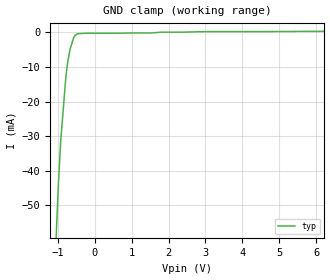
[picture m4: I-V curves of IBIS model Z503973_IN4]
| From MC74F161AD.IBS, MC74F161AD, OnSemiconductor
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| (C) COPYRIGHT 1993-2000
| MENTOR GRAPHICS CORPORATION
| ICX STANDARD LIBRARY, ICX PROJECT MODELING,
| ICX CUSTOM MODELING, ICX VENDOR MODEL
| ALL RIGHTS RESERVED.
| THE FOLLOWING ARE TRADEMARKS OR SERVICE MARKS OF
| MENTOR GRAPHICS CORPORATION:ICX (R), ICX STANDARD
| LIBRARY(R), ICX PROJECT MODELING(R), ICX CUSTOM
| MODELING(R), qualityIBIS(TM), MODELVIEWER(TM),
| AND MODELEDITOR(TM)
| ALL COPIES OF SOFTWARE, INCLUDING BUT NOT LIMITED TO
| ANY MODIFICATIONS, ENHANCEMENTS OR DERIVATIVE WORKS,
| MUST CONTAIN ALL MENTOR GRAPHICS CORPORATION'S
| NOTICES AND LEGENDS, INCLUDING THOSE EMBEDDED IN
| SOFTWARE AND THOSE AFFIXED TO SOFTWARE MEDIUM
| AND CONTAINER, AS RECEIVED FROM MENTOR GRAPHICS
| CORPORATION.
| Model Application Version 1.89 2/18/99.
[Model] Z503973_IN4
Model_type Input
Vinl = 800.0mV
Vinh = 2.000V
C_comp 4.000pF NA NA
| variable typ   min   max
[Voltage Range] 5.000V NA NA
[GND Clamp Reference] 0.000V NA NA
[POWER Clamp Reference] 5.000V NA NA
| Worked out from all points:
|   GND clamp passes 1 mA (typ) near -0.54 V on its own axis
[GND Clamp]
-5V       -1.722A    NA         NA
-1.075V   -67.75mA   NA         NA
-981mV    -44.04mA   NA         NA
-916.9mV  -31.23mA   NA         NA
-776.1mV  -12.55mA   NA         NA
-722.7mV  -8.122mA   NA         NA
-663.5mV  -4.799mA   NA         NA
-569.1mV  -1.527mA   NA         NA
-531.6mV  -921uA     NA         NA
-468.7mV  -370.8uA   NA         NA
2.979V    253.7uA    NA         NA
10V       572.9uA    NA         NA
[POWER Clamp]
-5V       0A         NA         NA
10V       0A         NA         NA
